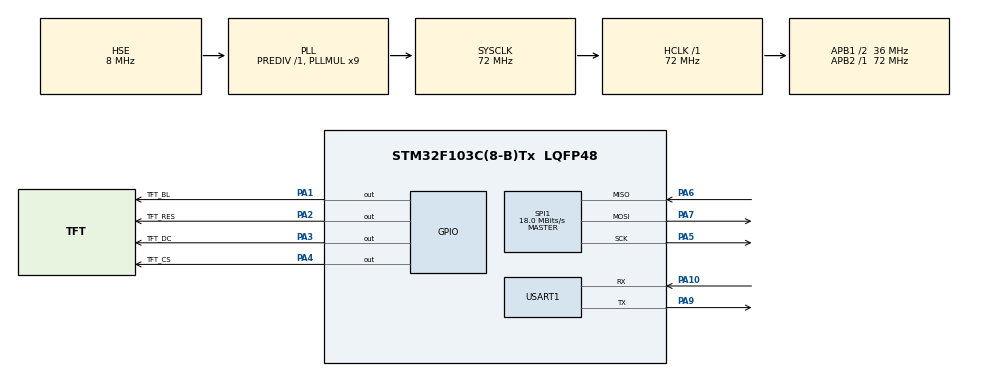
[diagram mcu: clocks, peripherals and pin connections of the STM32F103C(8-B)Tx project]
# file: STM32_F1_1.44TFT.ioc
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Mcu.Family=STM32F1
Mcu.Name=STM32F103C(8-B)Tx
Mcu.Package=LQFP48
NVIC.PriorityGroup=NVIC_PRIORITYGROUP_4
PA1.GPIO_Label=TFT_BL
PA1.GPIO_PuPd=GPIO_PULLUP
PA1.GPIO_Speed=GPIO_SPEED_FREQ_HIGH
PA1.PinState=GPIO_PIN_SET
PA1.Signal=GPIO_Output
PA10.Mode=Asynchronous
PA10.Signal=USART1_RX
PA13.Mode=Serial_Wire
PA13.Signal=SYS_JTMS-SWDIO
PA14.Mode=Serial_Wire
PA14.Signal=SYS_JTCK-SWCLK
PA2.GPIO_Label=TFT_RES
PA2.GPIO_PuPd=GPIO_PULLUP
PA2.GPIO_Speed=GPIO_SPEED_FREQ_HIGH
PA2.PinState=GPIO_PIN_SET
PA2.Signal=GPIO_Output
PA3.GPIO_Label=TFT_DC
PA3.GPIO_ModeDefaultOutputPP=GPIO_MODE_OUTPUT_PP
PA3.GPIO_PuPd=GPIO_PULLUP
PA3.GPIO_Speed=GPIO_SPEED_FREQ_HIGH
PA3.PinState=GPIO_PIN_SET
PA3.Signal=GPIO_Output
PA4.GPIO_Label=TFT_CS
PA4.GPIO_ModeDefaultOutputPP=GPIO_MODE_OUTPUT_PP
PA4.GPIO_PuPd=GPIO_PULLUP
PA4.GPIO_Speed=GPIO_SPEED_FREQ_HIGH
PA4.PinState=GPIO_PIN_SET
PA4.Signal=GPIO_Output
PA5.Mode=Full_Duplex_Master
PA5.Signal=SPI1_SCK
PA6.Mode=Full_Duplex_Master
PA6.Signal=SPI1_MISO
PA7.Mode=Full_Duplex_Master
PA7.Signal=SPI1_MOSI
PA9.Mode=Asynchronous
PA9.Signal=USART1_TX
PD0-OSC_IN.Mode=HSE-External-Oscillator
PD0-OSC_IN.Signal=RCC_OSC_IN
PD1-OSC_OUT.Mode=HSE-External-Oscillator
PD1-OSC_OUT.Signal=RCC_OSC_OUT
ProjectManager.HeapSize=0x200
ProjectManager.StackSize=0x400
ProjectManager.TargetToolchain=MDK-ARM V5.32
RCC.AHBFreq_Value=72000000
RCC.APB1CLKDivider=RCC_HCLK_DIV2
RCC.APB1Freq_Value=36000000
RCC.APB1TimFreq_Value=72000000
RCC.APB2Freq_Value=72000000
RCC.APB2TimFreq_Value=72000000
RCC.HCLKFreq_Value=72000000
RCC.PLLMUL=RCC_PLL_MUL9
RCC.PLLSourceVirtual=RCC_PLLSOURCE_HSE
RCC.SYSCLKFreq_VALUE=72000000
RCC.SYSCLKSource=RCC_SYSCLKSOURCE_PLLCLK
RCC.USBFreq_Value=72000000
SPI1.BaudRatePrescaler=SPI_BAUDRATEPRESCALER_4
SPI1.CalculateBaudRate=18.0 MBits/s
SPI1.Direction=SPI_DIRECTION_2LINES
SPI1.Mode=SPI_MODE_MASTER
SPI1.VirtualType=VM_MASTER
USART1.VirtualMode=VM_ASYNC
board=custom

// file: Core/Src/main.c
/* USER CODE BEGIN Header */
/**
  ******************************************************************************
  * @file           : main.c
  * @brief          : Main program body
  ******************************************************************************
  * @attention
  *
  * <h2><center>&copy; Copyright (c) 2022 STMicroelectronics.
  * All rights reserved.</center></h2>
  *
  * This software component is licensed by ST under BSD 3-Clause license,
  * the "License"; You may not use this file except in compliance with the
  * License. You may obtain a copy of the License at:
  *                        opensource.org/licenses/BSD-3-Clause
  *
  ******************************************************************************
  */
/* USER CODE END Header */
#include "main.h"
#include "spi.h"
#include "usart.h"
#include "gpio.h"

/* USER CODE BEGIN Includes */
#include "stdio.h"
#include "lcd_init.h"
#include "lcd.h"
#include "pic.h"
/* USER CODE END Includes */

/* USER CODE BEGIN PV */

   float t=0;

/* USER CODE END PV */

void SystemClock_Config(void);
/* USER CODE BEGIN PFP */
int fputc(int ch, FILE *f);
/* USER CODE END PFP */

/* USER CODE BEGIN 0 */

//LCD显示内容
void LCD_Show(){

//	 LCD_ShowChinese(0,0,"中子",RED,WHITE,24,0);
//		LCD_ShowString(24,30,"LCD_W:",RED,WHITE,16,0);
//		LCD_ShowIntNum(72,30,LCD_W,3,RED,WHITE,16);
//		LCD_ShowString(24,50,"LCD_H:",RED,WHITE,16,0);
//		LCD_ShowIntNum(72,50,LCD_H,3,RED,WHITE,16);
//		LCD_ShowFloatNum1(20,80,t,4,RED,WHITE,16);
//		t+=0.11;
//    LCD_ShowPicture(80,70,40,40,gImage_1);
//
//
//	LCD_Fill(0,0,LCD_W,LCD_H,WHITE);

	LCD_ShowPicture(0,0,128,128,gImage_2);

}

/* USER CODE END 0 */

int main(void)
{

  /* MCU Configuration--------------------------------------------------------*/

  /* Reset of all peripherals, Initializes the Flash interface and the Systick. */
  HAL_Init();

  /* Configure the system clock */
  SystemClock_Config();

  /* Initialize all configured peripherals */
  MX_GPIO_Init();
  MX_SPI1_Init();
  MX_USART1_UART_Init();
  /* USER CODE BEGIN 2 */

  LCD_Init();//LCD初始化
	LCD_Fill(0,0,LCD_W,LCD_H,WHITE);

//    LCD_Show();
  /* USER CODE END 2 */

  /* Infinite loop */
  while (1)
  {

    /* USER CODE BEGIN 3 */

			printf("start");

		LCD_Show();
//		HAL_Delay(10);

  }
  /* USER CODE END 3 */
}

void SystemClock_Config(void)
{
  RCC_OscInitTypeDef RCC_OscInitStruct = {0};
  RCC_ClkInitTypeDef RCC_ClkInitStruct = {0};

  /** Initializes the RCC Oscillators according to the specified parameters
  * in the RCC_OscInitTypeDef structure.
  */
  RCC_OscInitStruct.OscillatorType = RCC_OSCILLATORTYPE_HSE;
  RCC_OscInitStruct.HSEState = RCC_HSE_ON;
  RCC_OscInitStruct.HSEPredivValue = RCC_HSE_PREDIV_DIV1;
  RCC_OscInitStruct.HSIState = RCC_HSI_ON;
  RCC_OscInitStruct.PLL.PLLState = RCC_PLL_ON;
  RCC_OscInitStruct.PLL.PLLSource = RCC_PLLSOURCE_HSE;
  RCC_OscInitStruct.PLL.PLLMUL = RCC_PLL_MUL9;
  if (HAL_RCC_OscConfig(&RCC_OscInitStruct) != HAL_OK)
  {
    Error_Handler();
  }
  /** Initializes the CPU, AHB and APB buses clocks
  */
  RCC_ClkInitStruct.ClockType = RCC_CLOCKTYPE_HCLK|RCC_CLOCKTYPE_SYSCLK
                              |RCC_CLOCKTYPE_PCLK1|RCC_CLOCKTYPE_PCLK2;
  RCC_ClkInitStruct.SYSCLKSource = RCC_SYSCLKSOURCE_PLLCLK;
  RCC_ClkInitStruct.AHBCLKDivider = RCC_SYSCLK_DIV1;
  RCC_ClkInitStruct.APB1CLKDivider = RCC_HCLK_DIV2;
  RCC_ClkInitStruct.APB2CLKDivider = RCC_HCLK_DIV1;

  if (HAL_RCC_ClockConfig(&RCC_ClkInitStruct, FLASH_LATENCY_2) != HAL_OK)
  {
    Error_Handler();
  }
}

/* USER CODE BEGIN 4 */

int fputc(int ch, FILE *f)
{
 uint8_t temp[1] = {ch};
 HAL_UART_Transmit(&huart1, temp, 1, 2);
 return ch;
}

/* USER CODE END 4 */

void Error_Handler(void)
{
  __disable_irq();
  while (1)
  {
  }
}

/************************ (C) COPYRIGHT STMicroelectronics *****END OF FILE****/
